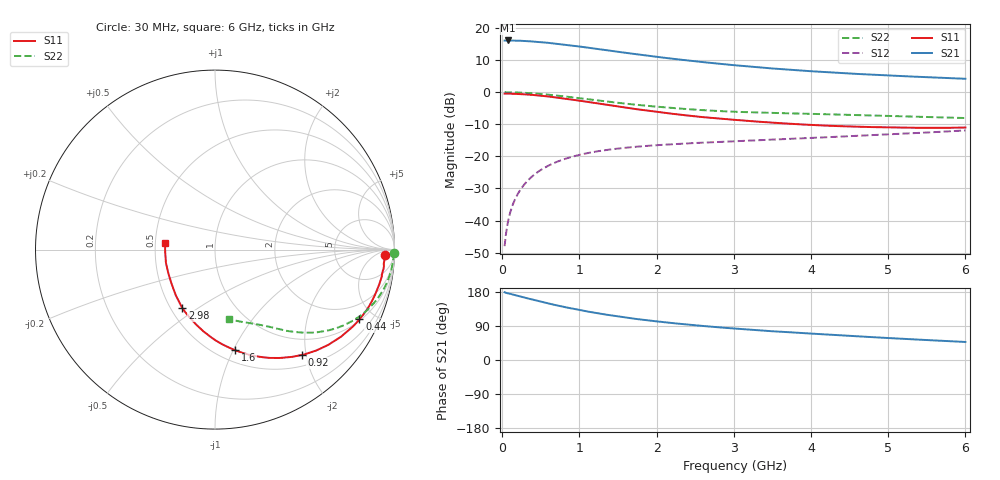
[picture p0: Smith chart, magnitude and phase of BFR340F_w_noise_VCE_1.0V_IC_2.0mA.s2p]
! Infineon Technologies  Discrete & RF Semiconductors
! BFR340F
! VCE =  1.0 V,  IC =  2.0 mA
! Common Emitter S-Parameters:  Nov 2015
# GHz  S  MA  R  50
!  f  S11  S21  S12  S22
! GHz  MAG  ANG  MAG  ANG  MAG  ANG  MAG  ANG
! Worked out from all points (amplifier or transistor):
!   206 points, 30 MHz to 6 GHz, reference 50 ohm
!   highest |S21| = 16.1 dB at 70 MHz (marker M1)
!   |S21| within 3 dB of that: start of sweep to 1.338 GHz
!   unconditionally stable (mu >= 1): 4.401 GHz to end of sweep
!   at 200 MHz: K = 0.06, MSG = 23.9 dB, |S12| = -31.7 dB
!   at 1.56 GHz: K = 0.51, MSG = 14.9 dB, |S12| = -17.4 dB
!   at 6 GHz: K = 1.05, MAG = 6.7 dB, |S12| = -11.9 dB
!   lowest NFmin = 0.79 dB at 450 MHz
!   S11 on the Smith chart (normalised r, x): 30 MHz: 27, -15; 440 MHz: 1.07, -4.10; 920 MHz: 0.69, -1.92; 1.6 GHz: 0.61, -1.02; 2.98 GHz: 0.57, -0.43; 6 GHz: 0.56, +0.05
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0.03  0.9449 -1.8  6.337 178.7  0.004 87.8  0.9958 -1.1
0.05  0.9467 -2.9  6.31 176.9  0.0065 90.3  0.9952 -1.9
0.06  0.9459 -3.6  6.307 176.7  0.0077 87.6  0.9954 -2.3
0.07  0.9439 -4.3  6.363 176.0  0.0092 86.5  0.9952 -2.7
0.13  0.9419 -7.8  6.335 173.3  0.017 85.0  0.9918 -5.0
0.195  0.9359 -11.7  6.316 169.7  0.0253 82.9  0.9859 -7.6
0.32  0.9175 -19.1  6.211 163.1  0.0408 78.5  0.9694 -12.3
0.44  0.8933 -25.8  6.063 156.9  0.0548 74.6  0.9475 -16.5
0.6  0.8538 -34.6  5.835 149.0  0.0719 69.6  0.9112 -21.9
0.68  0.8307 -38.8  5.697 145.3  0.0796 67.3  0.8907 -24.4
0.92  0.76 -50.6  5.264 135.1  0.0998 61.3  0.826 -31.0
1.04  0.7232 -56.1  5.043 130.4  0.1082 58.8  0.7936 -33.9
1.3  0.649 -67.1  4.573 121.2  0.1233 54.1  0.7273 -39.4
1.6  0.5716 -78.7  4.085 111.9  0.1363 50.2  0.6602 -44.3
2.02  0.4897 -92.4  3.515 101.5  0.1497 46.9  0.5903 -49.5
2.42  0.4295 -104.3  3.092 93.1  0.1596 45.3  0.5409 -53.5
2.98  0.3726 -119.3  2.639 83.3  0.1715 44.5  0.4959 -58.1
3.1  0.3626 -121.8  2.563 81.7  0.174 44.6  0.4903 -58.9
3.5  0.3347 -130.9  2.331 75.8  0.1822 44.8  0.4738 -61.4
4.1  0.3042 -143.7  2.077 68.5  0.1958 45.9  0.4557 -64.2
5.1  0.2812 -167.2  1.792 56.9  0.2228 47.8  0.4221 -71.4
6  0.2811 172.0  1.613 47.6  0.2531 49.1  0.3946 -79.0
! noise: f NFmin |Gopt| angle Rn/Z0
0.45  0.79  0.7  4  0.44
0.9  0.8  0.67  13  0.47
1.9  1.11  0.54  23  0.41
2.4  1.2  0.51  33  0.4
